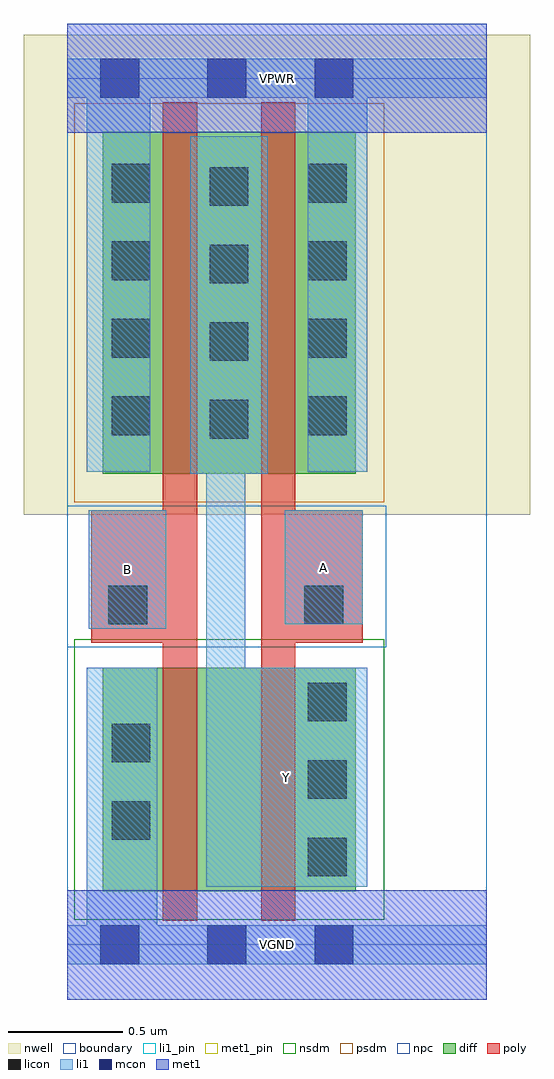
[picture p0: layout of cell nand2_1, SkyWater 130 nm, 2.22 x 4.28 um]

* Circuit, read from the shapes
.subckt nand2_1 A B VGND VPWR Y
XM1 n1 B VGND VSUBS sky130_fd_pr__nfet_01v8 w=0.98 l=0.15
XM2 Y A n1 VSUBS sky130_fd_pr__nfet_01v8 w=0.98 l=0.15
XM3 Y B VPWR n2 sky130_fd_pr__pfet_01v8 w=1.5 l=0.15
XM4 VPWR A Y n2 sky130_fd_pr__pfet_01v8 w=1.5 l=0.15
.ends

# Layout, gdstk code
import gdstk
lib = gdstk.Library(unit=1e-6, precision=1e-09)
def R(c, l, rs):  # rectangles x0, y0, x1, y1
    for r in rs: c.add(gdstk.rectangle(r[:2], r[2:], *l))
def A(c, l, x, y, w, h, nx, ny, dx, dy):  # array of equal rectangles
    R(c, l, [(x+i*dx, y+j*dy, x+i*dx+w, y+j*dy+h) for i in range(nx) for j in range(ny)])
nwell = (64, 20)
diff = (65, 20)
poly = (66, 20)
licon = (66, 44)
li1_pin = (67, 16)
li1 = (67, 20)
mcon = (67, 44)
met1_pin = (68, 16)
met1 = (68, 20)
nsdm = (93, 44)
psdm = (94, 20)
npc = (95, 20)
boundary = (235, 4)

nand2_1 = lib.new_cell('nand2_1')
R(nand2_1, nwell, [(-0.19,1.885,2.03,3.99), (0,1.885,1.84,3.99)])
R(nand2_1, diff, [(0.155,0.235,1.265,1.215), (0.155,2.065,1.265,3.565)])
R(nand2_1, poly, [(0.42,0.105,0.57,3.695), (0.85,0.105,1,3.695), (0.105,1.325,0.57,1.905), (0.85,1.325,1.295,1.905)])
A(nand2_1, licon, 1.055, 0.3, 0.17, 0.17, 1, 3, 0, 0.34)
A(nand2_1, licon, 0.625, 2.22, 0.17, 0.17, 1, 4, 0, 0.34)
A(nand2_1, licon, 0.195, 2.235, 0.17, 0.17, 1, 4, 0, 0.34)
A(nand2_1, licon, 1.055, 2.235, 0.17, 0.17, 1, 4, 0, 0.34)
R(nand2_1, licon, [(0.195,0.46,0.365,0.63), (0.195,0.8,0.365,0.97), (0.18,1.405,0.35,1.575), (1.04,1.405,1.21,1.575)])
R(nand2_1, li1_pin, [(0.61,0.255,1.315,1.215), (0.095,1.385,0.435,1.905), (0.955,1.405,1.295,1.905)])
R(nand2_1, li1, [(0,-0.085,1.84,0.085), (0.085,-0.085,0.395,1.215), (0.61,0.255,1.315,1.215), (0.61,0.255,0.78,3.545), (0.095,1.385,0.435,1.905), (0.955,1.405,1.295,1.905), (0.54,2.065,0.88,3.545), (0.085,2.075,0.365,3.885), (1.055,2.075,1.315,3.885), (0,3.715,1.84,3.885)])
A(nand2_1, mcon, 0.145, -0.085, 0.17, 0.17, 3, 2, 0.47, 3.8)
R(nand2_1, met1_pin, [(0,-0.24,1.84,0.24), (0,3.56,1.84,4.04)])
R(nand2_1, met1, [(0,-0.24,1.84,0.24), (0,3.56,1.84,4.04)])
R(nand2_1, nsdm, [(0.03,0.11,1.39,1.34)])
R(nand2_1, psdm, [(0.03,1.94,1.39,3.69)])
R(nand2_1, npc, [(0,1.305,1.4,1.925)])
R(nand2_1, boundary, [(0,0,1.84,3.8)])
nand2_1.add(gdstk.Label('A', (1.125,1.655), layer=67, texttype=5))
nand2_1.add(gdstk.Label('B', (0.265,1.645), layer=67, texttype=5))
nand2_1.add(gdstk.Label('Y', (0.962,0.735), layer=67, texttype=5))
nand2_1.add(gdstk.Label('VPWR', (0.92,3.8), layer=68, texttype=5))
nand2_1.add(gdstk.Label('VGND', (0.92,0), layer=68, texttype=5))
nand2_1.add(gdstk.Label('A', (1.125,1.655), layer=67, texttype=16))
nand2_1.add(gdstk.Label('B', (0.265,1.645), layer=67, texttype=16))
nand2_1.add(gdstk.Label('Y', (0.962,0.735), layer=67, texttype=16))
nand2_1.add(gdstk.Label('VPWR', (0.92,3.8), layer=68, texttype=16))
nand2_1.add(gdstk.Label('VGND', (0.92,0), layer=68, texttype=16))

lib.write_gds('nand2_1.gds')
